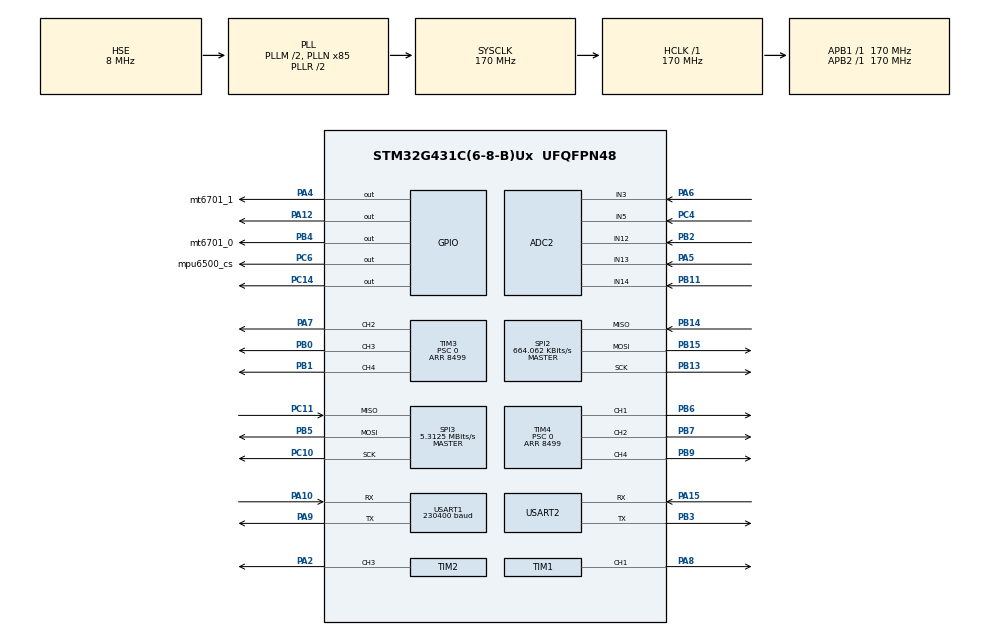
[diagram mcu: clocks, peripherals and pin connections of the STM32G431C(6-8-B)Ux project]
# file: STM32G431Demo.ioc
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ADC2.Channel-1\#ChannelRegularConversion=ADC_CHANNEL_13
ADC2.Channel-2\#ChannelRegularConversion=ADC_CHANNEL_3
ADC2.Channel-3\#ChannelRegularConversion=ADC_CHANNEL_5
ADC2.Channel-4\#ChannelRegularConversion=ADC_CHANNEL_12
ADC2.ContinuousConvMode=DISABLE
ADC2.DMAContinuousRequests=ENABLE
ADC2.EnableInjectedConversion=ENABLE
ADC2.ExternalTrigConv=ADC_EXTERNALTRIG_T3_TRGO
ADC2.InjNumberOfConversion=1
ADC2.InjectedChannel-5\#ChannelInjectedConversion=ADC_CHANNEL_14
ADC2.InjectedOffsetNumber-5\#ChannelInjectedConversion=ADC_OFFSET_NONE
ADC2.InjectedRank-5\#ChannelInjectedConversion=1
ADC2.InjectedSamplingTime-5\#ChannelInjectedConversion=ADC_SAMPLETIME_47CYCLES_5
ADC2.NbrOfConversion=4
ADC2.NbrOfConversionFlag=1
ADC2.OffsetNumber-1\#ChannelRegularConversion=ADC_OFFSET_NONE
ADC2.OffsetNumber-2\#ChannelRegularConversion=ADC_OFFSET_NONE
ADC2.OffsetNumber-3\#ChannelRegularConversion=ADC_OFFSET_NONE
ADC2.OffsetNumber-4\#ChannelRegularConversion=ADC_OFFSET_NONE
ADC2.Rank-1\#ChannelRegularConversion=1
ADC2.Rank-2\#ChannelRegularConversion=2
ADC2.Rank-3\#ChannelRegularConversion=3
ADC2.Rank-4\#ChannelRegularConversion=4
ADC2.Rank1_Channel=ADC_CHANNEL_14
ADC2.SamplingTime-1\#ChannelRegularConversion=ADC_SAMPLETIME_47CYCLES_5
ADC2.SamplingTime-2\#ChannelRegularConversion=ADC_SAMPLETIME_47CYCLES_5
ADC2.SamplingTime-3\#ChannelRegularConversion=ADC_SAMPLETIME_47CYCLES_5
ADC2.SamplingTime-4\#ChannelRegularConversion=ADC_SAMPLETIME_47CYCLES_5
Dma.ADC2.3.Direction=DMA_PERIPH_TO_MEMORY
Dma.ADC2.3.EventEnable=DISABLE
Dma.ADC2.3.Instance=DMA1_Channel4
Dma.ADC2.3.MemDataAlignment=DMA_MDATAALIGN_HALFWORD
Dma.ADC2.3.MemInc=DMA_MINC_ENABLE
Dma.ADC2.3.Mode=DMA_CIRCULAR
Dma.ADC2.3.PeriphDataAlignment=DMA_PDATAALIGN_HALFWORD
Dma.ADC2.3.PeriphInc=DMA_PINC_DISABLE
Dma.ADC2.3.Polarity=HAL_DMAMUX_REQ_GEN_RISING
Dma.ADC2.3.Priority=DMA_PRIORITY_HIGH
Dma.ADC2.3.RequestNumber=1
Dma.ADC2.3.SignalID=NONE
Dma.ADC2.3.SyncEnable=DISABLE
Dma.ADC2.3.SyncPolarity=HAL_DMAMUX_SYNC_NO_EVENT
Dma.ADC2.3.SyncRequestNumber=1
Dma.ADC2.3.SyncSignalID=NONE
Dma.Request0=TIM2_CH3
Dma.Request1=USART1_TX
Dma.Request2=USART1_RX
Dma.Request3=ADC2
Dma.Request4=SPI3_RX
Dma.Request5=SPI3_TX
Dma.Request6=USART2_TX
Dma.Request7=USART2_RX
Dma.SPI3_RX.4.Direction=DMA_PERIPH_TO_MEMORY
Dma.SPI3_RX.4.EventEnable=DISABLE
Dma.SPI3_RX.4.Instance=DMA1_Channel5
Dma.SPI3_RX.4.MemDataAlignment=DMA_MDATAALIGN_BYTE
Dma.SPI3_RX.4.MemInc=DMA_MINC_ENABLE
Dma.SPI3_RX.4.Mode=DMA_NORMAL
Dma.SPI3_RX.4.PeriphDataAlignment=DMA_PDATAALIGN_BYTE
Dma.SPI3_RX.4.PeriphInc=DMA_PINC_DISABLE
Dma.SPI3_RX.4.Polarity=HAL_DMAMUX_REQ_GEN_RISING
Dma.SPI3_RX.4.Priority=DMA_PRIORITY_LOW
Dma.SPI3_RX.4.RequestNumber=1
Dma.SPI3_RX.4.SignalID=NONE
Dma.SPI3_RX.4.SyncEnable=DISABLE
Dma.SPI3_RX.4.SyncPolarity=HAL_DMAMUX_SYNC_NO_EVENT
Dma.SPI3_RX.4.SyncRequestNumber=1
Dma.SPI3_RX.4.SyncSignalID=NONE
Dma.SPI3_TX.5.Direction=DMA_MEMORY_TO_PERIPH
Dma.SPI3_TX.5.EventEnable=DISABLE
Dma.SPI3_TX.5.Instance=DMA1_Channel6
Dma.SPI3_TX.5.MemDataAlignment=DMA_MDATAALIGN_BYTE
Dma.SPI3_TX.5.MemInc=DMA_MINC_ENABLE
Dma.SPI3_TX.5.Mode=DMA_NORMAL
Dma.SPI3_TX.5.PeriphDataAlignment=DMA_PDATAALIGN_BYTE
Dma.SPI3_TX.5.PeriphInc=DMA_PINC_DISABLE
Dma.SPI3_TX.5.Polarity=HAL_DMAMUX_REQ_GEN_RISING
Dma.SPI3_TX.5.Priority=DMA_PRIORITY_LOW
Dma.SPI3_TX.5.RequestNumber=1
Dma.SPI3_TX.5.SignalID=NONE
Dma.SPI3_TX.5.SyncEnable=DISABLE
Dma.SPI3_TX.5.SyncPolarity=HAL_DMAMUX_SYNC_NO_EVENT
Dma.SPI3_TX.5.SyncRequestNumber=1
Dma.SPI3_TX.5.SyncSignalID=NONE
Dma.TIM2_CH3.0.Direction=DMA_MEMORY_TO_PERIPH
Dma.TIM2_CH3.0.EventEnable=DISABLE
Dma.TIM2_CH3.0.Instance=DMA1_Channel1
Dma.TIM2_CH3.0.MemDataAlignment=DMA_MDATAALIGN_WORD
Dma.TIM2_CH3.0.MemInc=DMA_MINC_ENABLE
Dma.TIM2_CH3.0.Mode=DMA_NORMAL
Dma.TIM2_CH3.0.PeriphDataAlignment=DMA_PDATAALIGN_WORD
Dma.TIM2_CH3.0.PeriphInc=DMA_PINC_DISABLE
Dma.TIM2_CH3.0.Polarity=HAL_DMAMUX_REQ_GEN_RISING
Dma.TIM2_CH3.0.Priority=DMA_PRIORITY_HIGH
Dma.TIM2_CH3.0.RequestNumber=1
Dma.TIM2_CH3.0.SignalID=NONE
Dma.TIM2_CH3.0.SyncEnable=DISABLE
Dma.TIM2_CH3.0.SyncPolarity=HAL_DMAMUX_SYNC_NO_EVENT
Dma.TIM2_CH3.0.SyncRequestNumber=1
Dma.TIM2_CH3.0.SyncSignalID=NONE
Dma.USART1_RX.2.Direction=DMA_PERIPH_TO_MEMORY
Dma.USART1_RX.2.EventEnable=DISABLE
Dma.USART1_RX.2.Instance=DMA1_Channel3
Dma.USART1_RX.2.MemDataAlignment=DMA_MDATAALIGN_BYTE
Dma.USART1_RX.2.MemInc=DMA_MINC_ENABLE
Dma.USART1_RX.2.Mode=DMA_CIRCULAR
Dma.USART1_RX.2.PeriphDataAlignment=DMA_PDATAALIGN_BYTE
Dma.USART1_RX.2.PeriphInc=DMA_PINC_DISABLE
Dma.USART1_RX.2.Polarity=HAL_DMAMUX_REQ_GEN_RISING
Dma.USART1_RX.2.Priority=DMA_PRIORITY_LOW
Dma.USART1_RX.2.RequestNumber=1
Dma.USART1_RX.2.SignalID=NONE
Dma.USART1_RX.2.SyncEnable=DISABLE
Dma.USART1_RX.2.SyncPolarity=HAL_DMAMUX_SYNC_NO_EVENT
Dma.USART1_RX.2.SyncRequestNumber=1
Dma.USART1_RX.2.SyncSignalID=NONE
Dma.USART1_TX.1.Direction=DMA_MEMORY_TO_PERIPH
Dma.USART1_TX.1.EventEnable=DISABLE
Dma.USART1_TX.1.Instance=DMA1_Channel2
Dma.USART1_TX.1.MemDataAlignment=DMA_MDATAALIGN_BYTE
Dma.USART1_TX.1.MemInc=DMA_MINC_ENABLE
Dma.USART1_TX.1.Mode=DMA_NORMAL
Dma.USART1_TX.1.PeriphDataAlignment=DMA_PDATAALIGN_BYTE
Dma.USART1_TX.1.PeriphInc=DMA_PINC_DISABLE
Dma.USART1_TX.1.Polarity=HAL_DMAMUX_REQ_GEN_RISING
Dma.USART1_TX.1.Priority=DMA_PRIORITY_LOW
Dma.USART1_TX.1.RequestNumber=1
Dma.USART1_TX.1.SignalID=NONE
Dma.USART1_TX.1.SyncEnable=DISABLE
Dma.USART1_TX.1.SyncPolarity=HAL_DMAMUX_SYNC_NO_EVENT
Dma.USART1_TX.1.SyncRequestNumber=1
Dma.USART1_TX.1.SyncSignalID=NONE
Dma.USART2_RX.7.Direction=DMA_PERIPH_TO_MEMORY
Dma.USART2_RX.7.EventEnable=DISABLE
Dma.USART2_RX.7.Instance=DMA2_Channel2
Dma.USART2_RX.7.MemDataAlignment=DMA_MDATAALIGN_BYTE
Dma.USART2_RX.7.MemInc=DMA_MINC_ENABLE
Dma.USART2_RX.7.Mode=DMA_CIRCULAR
Dma.USART2_RX.7.PeriphDataAlignment=DMA_PDATAALIGN_BYTE
Dma.USART2_RX.7.PeriphInc=DMA_PINC_DISABLE
Dma.USART2_RX.7.Polarity=HAL_DMAMUX_REQ_GEN_RISING
Dma.USART2_RX.7.Priority=DMA_PRIORITY_LOW
Dma.USART2_RX.7.RequestNumber=1
Dma.USART2_RX.7.SignalID=NONE
Dma.USART2_RX.7.SyncEnable=DISABLE
Dma.USART2_RX.7.SyncPolarity=HAL_DMAMUX_SYNC_NO_EVENT
Dma.USART2_RX.7.SyncRequestNumber=1
Dma.USART2_RX.7.SyncSignalID=NONE
Dma.USART2_TX.6.Direction=DMA_MEMORY_TO_PERIPH
Dma.USART2_TX.6.EventEnable=DISABLE
Dma.USART2_TX.6.Instance=DMA2_Channel1
Dma.USART2_TX.6.MemDataAlignment=DMA_MDATAALIGN_BYTE
Dma.USART2_TX.6.MemInc=DMA_MINC_ENABLE
Dma.USART2_TX.6.Mode=DMA_NORMAL
Dma.USART2_TX.6.PeriphDataAlignment=DMA_PDATAALIGN_BYTE
Dma.USART2_TX.6.PeriphInc=DMA_PINC_DISABLE
Dma.USART2_TX.6.Polarity=HAL_DMAMUX_REQ_GEN_RISING
Dma.USART2_TX.6.Priority=DMA_PRIORITY_LOW
Dma.USART2_TX.6.RequestNumber=1
Dma.USART2_TX.6.SignalID=NONE
Dma.USART2_TX.6.SyncEnable=DISABLE
Dma.USART2_TX.6.SyncPolarity=HAL_DMAMUX_SYNC_NO_EVENT
Dma.USART2_TX.6.SyncRequestNumber=1
Dma.USART2_TX.6.SyncSignalID=NONE
FREERTOS.INCLUDE_vTaskDelayUntil=1
FREERTOS.Tasks01=DefaultTask,-3,192,StartDefaultTask,Default,NULL,Dynamic,NULL,NULL
FREERTOS.configENABLE_FPU=1
FREERTOS.configTOTAL_HEAP_SIZE=16384
IWDG.Prescaler=IWDG_PRESCALER_256
IWDG.Reload=1000
Mcu.Family=STM32G4
Mcu.Name=STM32G431C(6-8-B)Ux
Mcu.Package=UFQFPN48
NVIC.ADC1_2_IRQn=true\:5\:0\:false\:false\:true\:true\:true\:true\:true
NVIC.DMA1_Channel1_IRQn=true\:10\:0\:true\:false\:true\:true\:false\:true\:true
NVIC.DMA1_Channel2_IRQn=true\:10\:0\:true\:false\:true\:true\:false\:true\:true
NVIC.DMA1_Channel3_IRQn=true\:10\:0\:true\:false\:true\:true\:false\:true\:true
NVIC.DMA1_Channel4_IRQn=true\:5\:0\:false\:false\:true\:true\:false\:true\:true
NVIC.DMA1_Channel5_IRQn=true\:5\:0\:false\:false\:true\:true\:false\:true\:true
NVIC.DMA1_Channel6_IRQn=true\:5\:0\:false\:false\:true\:true\:false\:true\:true
NVIC.DMA2_Channel1_IRQn=true\:5\:0\:false\:false\:true\:true\:false\:true\:true
NVIC.DMA2_Channel2_IRQn=true\:5\:0\:false\:false\:true\:true\:false\:true\:true
NVIC.PriorityGroup=NVIC_PRIORITYGROUP_4
NVIC.SPI3_IRQn=true\:6\:0\:true\:false\:true\:true\:true\:true\:true
NVIC.TIM1_BRK_TIM15_IRQn=true\:5\:0\:false\:false\:true\:true\:true\:true\:true
NVIC.TIM1_TRG_COM_TIM17_IRQn=true\:6\:0\:true\:false\:true\:true\:true\:true\:true
NVIC.TIM2_IRQn=true\:5\:0\:false\:false\:true\:true\:true\:true\:true
NVIC.TIM3_IRQn=true\:5\:0\:true\:false\:true\:true\:true\:true\:true
NVIC.TIM4_IRQn=true\:5\:0\:false\:false\:true\:true\:true\:true\:true
NVIC.TIM6_DAC_IRQn=true\:6\:0\:true\:false\:true\:true\:true\:true\:true
NVIC.TIM7_IRQn=true\:15\:0\:false\:false\:true\:false\:false\:true\:true
NVIC.TimeBase=TIM7_IRQn
NVIC.TimeBaseIP=TIM7
NVIC.USART1_IRQn=true\:10\:0\:true\:false\:true\:true\:true\:true\:true
NVIC.USART2_IRQn=true\:10\:0\:true\:false\:true\:true\:true\:true\:true
PA10.Mode=Asynchronous
PA10.Signal=USART1_RX
PA12.GPIO_Speed=GPIO_SPEED_FREQ_VERY_HIGH
PA12.Signal=GPIO_Output
PA13.Mode=Serial_Wire
PA13.Signal=SYS_JTMS-SWDIO
PA14.Mode=Serial_Wire
PA14.Signal=SYS_JTCK-SWCLK
PA15.Mode=Asynchronous
PA15.Signal=USART2_RX
PA2.GPIO_Speed=GPIO_SPEED_FREQ_HIGH
PA2.Signal=S_TIM2_CH3
PA4.GPIO_Label=mt6701_1
PA4.GPIO_PuPd=GPIO_PULLUP
PA4.GPIO_Speed=GPIO_SPEED_FREQ_HIGH
PA4.PinState=GPIO_PIN_SET
PA4.Signal=GPIO_Output
PA5.Mode=IN13-Single-Ended
PA5.Signal=ADC2_IN13
PA6.Mode=IN3-Single-Ended
PA6.Signal=ADC2_IN3
PA7.Signal=S_TIM3_CH2
PA8.Signal=S_TIM1_CH1
PA9.Mode=Asynchronous
PA9.Signal=USART1_TX
PB0.Signal=S_TIM3_CH3
PB1.Signal=S_TIM3_CH4
PB11.Mode=IN14-Single-Ended
PB11.Signal=ADC2_IN14
PB13.GPIO_PuPd=GPIO_PULLUP
PB13.Mode=Full_Duplex_Master
PB13.Signal=SPI2_SCK
PB14.GPIO_PuPd=GPIO_PULLUP
PB14.Mode=Full_Duplex_Master
PB14.Signal=SPI2_MISO
PB15.GPIO_PuPd=GPIO_PULLUP
PB15.Mode=Full_Duplex_Master
PB15.Signal=SPI2_MOSI
PB2.Mode=IN12-Single-Ended
PB2.Signal=ADC2_IN12
PB3.Mode=Asynchronous
PB3.Signal=USART2_TX
PB4.GPIO_Label=mt6701_0
PB4.GPIO_PuPd=GPIO_PULLUP
PB4.GPIO_Speed=GPIO_SPEED_FREQ_HIGH
PB4.PinState=GPIO_PIN_SET
PB4.Signal=GPIO_Output
PB5.Mode=Full_Duplex_Master
PB5.Signal=SPI3_MOSI
PB6.Signal=S_TIM4_CH1
PB7.Signal=S_TIM4_CH2
PB9.Signal=S_TIM4_CH4
PC10.Mode=Full_Duplex_Master
PC10.Signal=SPI3_SCK
PC11.Mode=Full_Duplex_Master
PC11.Signal=SPI3_MISO
PC14-OSC32_IN.GPIO_PuPd=GPIO_PULLDOWN
PC14-OSC32_IN.Signal=GPIO_Output
PC4.Mode=IN5-Single-Ended
PC4.Signal=ADC2_IN5
PC6.GPIO_Label=mpu6500_cs
PC6.GPIO_PuPd=GPIO_NOPULL
PC6.GPIO_Speed=GPIO_SPEED_FREQ_HIGH
PC6.PinState=GPIO_PIN_SET
PC6.Signal=GPIO_Output
PF0-OSC_IN.Mode=HSE-External-Oscillator
PF0-OSC_IN.Signal=RCC_OSC_IN
PF1-OSC_OUT.Mode=HSE-External-Oscillator
PF1-OSC_OUT.Signal=RCC_OSC_OUT
ProjectManager.HeapSize=0x200
ProjectManager.StackSize=0x400
ProjectManager.TargetToolchain=CMake
RCC.ADC12Freq_Value=170000000
RCC.AHBFreq_Value=170000000
RCC.APB1Freq_Value=170000000
RCC.APB1TimFreq_Value=170000000
RCC.APB2Freq_Value=170000000
RCC.APB2TimFreq_Value=170000000
RCC.CortexFreq_Value=170000000
RCC.EXTERNAL_CLOCK_VALUE=12288000
RCC.HCLKFreq_Value=170000000
RCC.HSE_VALUE=8000000
RCC.HSI48_VALUE=48000000
RCC.HSI_VALUE=16000000
RCC.LSE_VALUE=32768
RCC.PLLM=RCC_PLLM_DIV2
RCC.PLLN=85
RCC.PLLSourceVirtual=RCC_PLLSOURCE_HSE
RCC.SYSCLKFreq_VALUE=170000000
RCC.SYSCLKSource=RCC_SYSCLKSOURCE_PLLCLK
RCC.USBFreq_Value=170000000
RCC.VCOOutputFreq_Value=340000000
SH.S_TIM1_CH1.0=TIM1_CH1,PWM Generation1 CH1
SH.S_TIM2_CH3.0=TIM2_CH3,PWM Generation3 CH3
SH.S_TIM3_CH2.0=TIM3_CH2,PWM Generation2 CH2
SH.S_TIM3_CH3.0=TIM3_CH3,PWM Generation3 CH3
SH.S_TIM3_CH4.0=TIM3_CH4,PWM Generation4 CH4
SH.S_TIM4_CH1.0=TIM4_CH1,PWM Generation1 CH1
SH.S_TIM4_CH2.0=TIM4_CH2,PWM Generation2 CH2
SH.S_TIM4_CH4.0=TIM4_CH4,PWM Generation4 CH4
SPI2.BaudRatePrescaler=SPI_BAUDRATEPRESCALER_256
SPI2.CLKPhase=SPI_PHASE_2EDGE
SPI2.CLKPolarity=SPI_POLARITY_HIGH
SPI2.CRCCalculation=SPI_CRCCALCULATION_DISABLE
SPI2.CalculateBaudRate=664.062 KBits/s
SPI2.DataSize=SPI_DATASIZE_8BIT
SPI2.Direction=SPI_DIRECTION_2LINES
SPI2.Mode=SPI_MODE_MASTER
SPI2.VirtualType=VM_MASTER
SPI3.BaudRatePrescaler=SPI_BAUDRATEPRESCALER_32
SPI3.CLKPhase=SPI_PHASE_2EDGE
SPI3.CLKPolarity=SPI_POLARITY_LOW
SPI3.CalculateBaudRate=5.3125 MBits/s
SPI3.DataSize=SPI_DATASIZE_8BIT
SPI3.Direction=SPI_DIRECTION_2LINES
SPI3.Mode=SPI_MODE_MASTER
SPI3.VirtualType=VM_MASTER
TIM1.Channel-PWM\ Generation1\ CH1=TIM_CHANNEL_1
TIM1.Prescaler=170-1
TIM17.PeriodNoDither=999
TIM17.Prescaler=170-1
TIM2.AutoReloadPreload=TIM_AUTORELOAD_PRELOAD_ENABLE
TIM2.Channel-PWM\ Generation3\ CH3=TIM_CHANNEL_3
TIM2.OCPolarity_3=TIM_OCPOLARITY_HIGH
TIM2.PeriodNoDither=212
TIM3.AutoReloadPreload=TIM_AUTORELOAD_PRELOAD_ENABLE
TIM3.Channel-PWM\ Generation2\ CH2=TIM_CHANNEL_2
TIM3.Channel-PWM\ Generation3\ CH3=TIM_CHANNEL_3
TIM3.Channel-PWM\ Generation4\ CH4=TIM_CHANNEL_4
TIM3.CounterMode=TIM_COUNTERMODE_CENTERALIGNED1
TIM3.PeriodNoDither=8499
TIM3.Prescaler=0
TIM3.TIM_MasterOutputTrigger=TIM_TRGO_UPDATE
TIM4.AutoReloadPreload=TIM_AUTORELOAD_PRELOAD_ENABLE
TIM4.Channel-PWM\ Generation1\ CH1=TIM_CHANNEL_1
TIM4.Channel-PWM\ Generation2\ CH2=TIM_CHANNEL_2
TIM4.Channel-PWM\ Generation4\ CH4=TIM_CHANNEL_4
TIM4.CounterMode=TIM_COUNTERMODE_CENTERALIGNED1
TIM4.PeriodNoDither=8499
TIM4.Prescaler=0
TIM6.PeriodNoDither=14
TIM6.Prescaler=169
USART1.BaudRate=230400
USART1.VirtualMode-Asynchronous=VM_ASYNC
USART2.VirtualMode-Asynchronous=VM_ASYNC
VP_FREERTOS_VS_CMSIS_V1.Mode=CMSIS_V1
VP_IWDG_VS_IWDG.Mode=IWDG_Activate
VP_SYS_VS_DBSignals.Mode=DisableDeadBatterySignals
VP_SYS_VS_tim7.Mode=TIM7
VP_TIM17_VS_ClockSourceINT.Mode=Enable_Timer
VP_TIM1_VS_ClockSourceINT.Mode=Internal
VP_TIM2_VS_ClockSourceINT.Mode=Internal
VP_TIM4_VS_ClockSourceITR.Mode=TriggerSource_ITR2
VP_TIM4_VS_ControllerModeTrigger.Mode=Trigger Mode
VP_TIM6_VS_ClockSourceINT.Mode=Enable_Timer
board=custom

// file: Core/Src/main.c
/* USER CODE BEGIN Header */
/**
  ******************************************************************************
  * @file           : main.c
  * @brief          : Main program body
  ******************************************************************************
  * @attention
  *
  * Copyright (c) 2026 STMicroelectronics.
  * All rights reserved.
  *
  * This software is licensed under terms that can be found in the LICENSE file
  * in the root directory of this software component.
  * If no LICENSE file comes with this software, it is provided AS-IS.
  *
  ******************************************************************************
  */
/* USER CODE END Header */
#include "main.h"
#include "cmsis_os.h"
#include "adc.h"
#include "dma.h"
#include "iwdg.h"
#include "spi.h"
#include "tim.h"
#include "usart.h"
#include "gpio.h"

/* USER CODE BEGIN Includes */
#include "../Inc/buzzer.h"
#include "ws2812b.h"
#include "mt6701.h"
#include "ina240.h"
#include "mpu6500.h"
#include "vbus.h"
#include "foc.h"
#include "motor_hal.h"
#include "calibration.h"
#include "comm.h"
#include "bt_comm.h"
#include "build_time.h"  /* BUILD_TIMESTAMP — 每次构建自动生成 */
#include <stdio.h>
#include "task.h"
/* USER CODE END Includes */

/* USER CODE BEGIN PV */
extern osThreadId TaskBalanceLoopHandle;
static uint8_t g_printf_port = 0;  /**< 0=USART1, 1=USART2, 由 CLI 端口切换控制 */

void CLI_SetOutputPort(uint8_t port) { g_printf_port = port; }
uint8_t CLI_GetOutputPort(void) { return g_printf_port; }
/* USER CODE END PV */

void SystemClock_Config(void);
void MX_FREERTOS_Init(void);

int main(void)
{

  /* MCU Configuration--------------------------------------------------------*/

  /* Reset of all peripherals, Initializes the Flash interface and the Systick. */
  HAL_Init();

  /* Configure the system clock */
  SystemClock_Config();

  /* Initialize all configured peripherals */
  MX_GPIO_Init();
  MX_DMA_Init();
  MX_TIM1_Init();
  MX_TIM2_Init();
  MX_USART1_UART_Init();
  MX_SPI3_Init();
  MX_ADC2_Init();
  MX_SPI2_Init();
  MX_TIM3_Init();
  MX_TIM4_Init();
  MX_TIM6_Init();
  MX_TIM17_Init();
  MX_USART2_UART_Init();
  MX_IWDG_Init();
  /* USER CODE BEGIN 2 */
  // 禁用 stdout 缓冲，确保 printf 立即输出
  setvbuf(stdout, NULL, _IONBF, 0);
  WS2812B_Init();
  Buzzer_Init();
  COMM_Init();
  BT_COMM_Init();
  MT6701_Init();
  INA240_Init();

  // 初始化完成提示音 — 两声短响
  Buzzer_Beep(2000, 80);
  HAL_Delay(120);
  Buzzer_Beep(2000, 80);
  HAL_Delay(150);

  // 先启动 TIM3 提供 ADC TRGO 触发，但 PC14 保持低电平（MP6536 禁能，零电流）
  HAL_TIM_Base_Start(&htim3);
  HAL_Delay(10);
  INA240_Calibrate();

  // 从 Flash 加载校准参数到 g_calib（仅用于打印，实际应用在 FOC_Init 之后）
  CALIB_FlashLoad(&g_calib);
  if (!CALIB_FlashIsValid(&g_calib)) {
      g_calib.magic   = CALIB_MAGIC;
      g_calib.version = CALIB_VERSION;
  }

  printf("\r\n=== STM32G4-Balance v3.2 (构建: " BUILD_TIMESTAMP ") ===\r\n");
  printf("IWDG: LSI/256=125Hz, RL=1000 (8s timeout)\r\n");

  FOC_Init();
  // 先中性化 PWM 再使能 MP6536，避免门驱输入浮空导致电机抖动
  for (int i = 0; i < 2; i++) {
      Motor_StartPWM(&g_motor[i]);
      Motor_SetDuty(&g_motor[i], 0.50f, 0.50f, 0.50f);
  }
  Motor_Enable();

  // 电流环初始化
  for (int i = 0; i < 2; i++) {
      g_motor[i].id_ref = 0.0f;
      g_motor[i].iq_ref = 0.0f;
      g_motor[i].mode = MOTOR_MODE_CURRENT_LOOP;
      PI_Reset(&g_motor[i].id_pi);
      PI_Reset(&g_motor[i].iq_pi);
  }

  // FOC_Init 之后应用 Flash 校准参数
  if (CALIB_FlashIsValid(&g_calib)) {
      CALIB_ApplyToMotor(&g_calib, 0);
      CALIB_ApplyToMotor(&g_calib, 1);
      MT6701_SetEncDirection(0, g_calib.enc_direction[0]);
      MT6701_SetEncDirection(1, g_calib.enc_direction[1]);
      INA240_SetAllZeroOffsets(g_calib.zero_offset);
  }
  printf("g_motor active: phase_comp M1=%.3f M2=%.3f rad\r\n", g_motor[0].phase_comp, g_motor[1].phase_comp);

  VBUS_Init();
  printf("VBUS=%.2fV (%s)\r\n", VBUS_Read(),
         VBUS_IsCalibrated() ? "calibrated" : "uncalibrated, use VCAL");

  if (MPU6500_Init() != 0) {
    printf("[FATAL] MPU6500 init FAILED — system halted\r\n");
    /* 等待 UART DMA 发送完成，确保错误消息完整输出 */
    HAL_Delay(5);
    while (!__HAL_UART_GET_FLAG(&huart1, UART_FLAG_TC));
    /* 错误提示音: 3声短促 4000Hz (每声100ms, 间隔100ms) */
    for (int i = 0; i < 3; i++) {
      Buzzer_Beep(4000, 100);
      HAL_Delay(100);
    }
    /* 死循环 — 不初始化 MT6701, 不启动 FreeRTOS, 系统完全停止 */
    while (1);
  }
  MT6701_CSDelay_Init();
  MT6701_StartDMA(0);
  /* USER CODE END 2 */

  /* Call init function for freertos objects (in cmsis_os2.c) */
  MX_FREERTOS_Init();

  /* Start scheduler */
  osKernelStart();

  /* We should never get here as control is now taken by the scheduler */

  /* Infinite loop */
  while (1)
  {

    /* USER CODE BEGIN 3 */
    // FreeRTOS 已接管调度，此处不应被执行
  }
  /* USER CODE END 3 */
}

void SystemClock_Config(void)
{
  RCC_OscInitTypeDef RCC_OscInitStruct = {0};
  RCC_ClkInitTypeDef RCC_ClkInitStruct = {0};

  /** Configure the main internal regulator output voltage
  */
  HAL_PWREx_ControlVoltageScaling(PWR_REGULATOR_VOLTAGE_SCALE1_BOOST);

  /** Initializes the RCC Oscillators according to the specified parameters
  * in the RCC_OscInitTypeDef structure.
  */
  RCC_OscInitStruct.OscillatorType = RCC_OSCILLATORTYPE_LSI|RCC_OSCILLATORTYPE_HSE;
  RCC_OscInitStruct.HSEState = RCC_HSE_ON;
  RCC_OscInitStruct.LSIState = RCC_LSI_ON;
  RCC_OscInitStruct.PLL.PLLState = RCC_PLL_ON;
  RCC_OscInitStruct.PLL.PLLSource = RCC_PLLSOURCE_HSE;
  RCC_OscInitStruct.PLL.PLLM = RCC_PLLM_DIV2;
  RCC_OscInitStruct.PLL.PLLN = 85;
  RCC_OscInitStruct.PLL.PLLP = RCC_PLLP_DIV2;
  RCC_OscInitStruct.PLL.PLLQ = RCC_PLLQ_DIV2;
  RCC_OscInitStruct.PLL.PLLR = RCC_PLLR_DIV2;
  if (HAL_RCC_OscConfig(&RCC_OscInitStruct) != HAL_OK)
  {
    Error_Handler();
  }

  /** Initializes the CPU, AHB and APB buses clocks
  */
  RCC_ClkInitStruct.ClockType = RCC_CLOCKTYPE_HCLK|RCC_CLOCKTYPE_SYSCLK
                              |RCC_CLOCKTYPE_PCLK1|RCC_CLOCKTYPE_PCLK2;
  RCC_ClkInitStruct.SYSCLKSource = RCC_SYSCLKSOURCE_PLLCLK;
  RCC_ClkInitStruct.AHBCLKDivider = RCC_SYSCLK_DIV1;
  RCC_ClkInitStruct.APB1CLKDivider = RCC_HCLK_DIV1;
  RCC_ClkInitStruct.APB2CLKDivider = RCC_HCLK_DIV1;

  if (HAL_RCC_ClockConfig(&RCC_ClkInitStruct, FLASH_LATENCY_4) != HAL_OK)
  {
    Error_Handler();
  }
}

/* USER CODE BEGIN 4 */

// printf 重定向 — CLI 可切换输出端口 (USART1↔USART2)
int __io_putchar(int ch)
{
    if (g_printf_port == 1) {
        BT_COMM_SendByte((uint8_t)ch);
    } else {
        COMM_SendByte((uint8_t)ch);
    }
    return ch;
}

/* USER CODE END 4 */

void HAL_TIM_PeriodElapsedCallback(TIM_HandleTypeDef *htim)
{
  if (htim->Instance == TIM7)
  {
    HAL_IncTick();
  }
  /* USER CODE BEGIN Callback 1 */
  if (htim->Instance == TIM6)
  {
      MT6701_OnCSDelayComplete();
  }
  if (htim->Instance == TIM17)
  {
      BaseType_t xHigherPriorityTaskWoken = pdFALSE;
      vTaskNotifyGiveFromISR(TaskBalanceLoopHandle, &xHigherPriorityTaskWoken);
      portYIELD_FROM_ISR(xHigherPriorityTaskWoken);
  }
  /* USER CODE END Callback 1 */
}

void Error_Handler(void)
{
  /* USER CODE BEGIN Error_Handler_Debug */
  /* User can add his own implementation to report the HAL error return state */
  Fault_DisableMotors();  // CR-023: 安全停止电机
  __disable_irq();
  while (1)
  {
  }
  /* USER CODE END Error_Handler_Debug */
}

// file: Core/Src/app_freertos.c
/* USER CODE BEGIN Header */
/**
  ******************************************************************************
  * File Name          : app_freertos.c
  * Description        : Code for freertos applications
  ******************************************************************************
  */
/* USER CODE END Header */

#include "FreeRTOS.h"
#include "task.h"
#include "main.h"
#include "cmsis_os.h"

/* USER CODE BEGIN Includes */
#include <stdio.h>
#include <stdlib.h>
#include <math.h>
#include "mt6701.h"
#include "ina240.h"
#include "mpu6500.h"
#include "kf_angle.h"

#include "comm_protocol.h"
#include "comm.h"
#include "foc.h"

#include "motor_hal.h"
#include "svpwm.h"
#include "current_ctrl.h"
#include "encoder_cache.h"
#include "calibration.h"
#include "speed_ctrl.h"
#include "buzzer.h"
#include "cli_parser.h"
#include "cli.h"
#include "balance_ctrl.h"
#include "vbus.h"
#include "bt_comm.h"
/* USER CODE END Includes */

/* USER CODE BEGIN PD */
// 维护周期宏 (CR-018 魔法数消除)
#define MAINTENANCE_DIV         100      // IWDG 喂狗 / VBUS 检查周期 (tick, 100=100ms)
#define VBUS_BEEP_INTERVAL      800      // VBUS 低压蜂鸣间隔 (tick, 800=800ms)
#define BT_TELEM_DIV            20       // BT 遥测周期 (tick, 20=50Hz)
#define CYCLE_OVERRUN_THRESH    170000   // DWT 超时阈值 (cycles @170MHz≈1ms)

// VBUS 电压阈值 (V)
#define VBUS_UVLO_THRESHOLD     6.4f     // 低压停止阈值
#define VBUS_WARN_THRESHOLD     6.6f     // 低压告警阈值

// 控制参数宏
#define ODOM_EMA_ALPHA          0.095f   // odom EMA α (τ≈10ms @1kHz)
#define IMU_RECOVER_TILT_MAX    10.0f    // IMU 恢复后允许自动重激活的倾角阈值 (°)
/* USER CODE END PD */

/* USER CODE BEGIN Variables */
SpeedCtrl_t g_speed[2];
BalanceCtrl_t g_balance;
osThreadId TaskCLIHandle;
osThreadId TaskBalanceLoopHandle;
extern TIM_HandleTypeDef htim17;
extern IWDG_HandleTypeDef hiwdg;  /**< 独立看门狗句柄，main.c 定义 */

// 运行时故障/状态计数器 (CLI help 可查看)
uint32_t g_imu_fault_total   = 0;  /**< IMU SPI 累计故障次数 */
uint32_t g_nan_fault_cnt     = 0;  /**< NaN 累计检测次数 */
uint32_t g_cycle_overrun_cnt = 0;  /**< 平衡循环超时 (>1ms) 累计次数 */
/* USER CODE END Variables */
osThreadId DefaultTaskHandle;

/* USER CODE BEGIN FunctionPrototypes */
void StartCLITask(void const * argument);
void StartBalanceLoopTask(void const * argument);
/* USER CODE END FunctionPrototypes */

void StartDefaultTask(void const * argument);

void MX_FREERTOS_Init(void); /* (MISRA C 2004 rule 8.1) */

void MX_FREERTOS_Init(void) {

  /* Create the thread(s) */
  /* definition and creation of DefaultTask */
  osThreadDef(DefaultTask, StartDefaultTask, osPriorityIdle, 0, 192);
  DefaultTaskHandle = osThreadCreate(osThread(DefaultTask), NULL);

  /* USER CODE BEGIN RTOS_THREADS */
  if (g_calib_mode) {
      osThreadDef(TaskCLI, StartCLITask, osPriorityNormal, 0, 1024);
      TaskCLIHandle = osThreadCreate(osThread(TaskCLI), NULL);
  } else {
      osThreadDef(TaskCLI, StartCLITask, osPriorityNormal, 0, 512);
      TaskCLIHandle = osThreadCreate(osThread(TaskCLI), NULL);
      osThreadDef(TaskBalance, StartBalanceLoopTask, osPriorityHigh, 0, 896);
      TaskBalanceLoopHandle = osThreadCreate(osThread(TaskBalance), NULL);
  }
  /* USER CODE END RTOS_THREADS */

}

void StartDefaultTask(void const * argument)
{
  /* USER CODE BEGIN StartDefaultTask */
  (void)argument;
  vTaskDelete(NULL);  // 占位任务, 立即自删, 满足 CubeMX 至少一个任务的约束
  /* USER CODE END StartDefaultTask */
}

/* USER CODE BEGIN Application */

/** @brief CLI 任务 — 串口命令处理 */
void StartCLITask(void const * argument)
{
  (void)argument;
  CLI_Init();
  uint32_t cli_tick = 0;
  for(;;)
  {
    CLI_Process();
    osDelay(1);
    // CR-019: 校准模式下仅 CLI 任务运行, 需主动喂狗 (100ms 间隔)
    cli_tick++;
    if (cli_tick % 100 == 0) {
        HAL_IWDG_Refresh(&hiwdg);
    }
  }
}

/** @brief 平衡环任务 — 1kHz TIM17 触发, IMU→卡尔曼滤波→平衡PID→速度环→差速 */
void StartBalanceLoopTask(void const * argument)
{
  (void)argument;
  BalanceCtrl_Init(&g_balance);

  SpeedCtrl_Init(&g_speed[MOTOR_LEFT], SPEED_PI_DEFAULT_KP, SPEED_PI_DEFAULT_KI,
                 2.0f, -2.0f, MT6701_GetEncDirection(MOTOR_LEFT),
                 MOTOR_KT, MOTOR_J);
  SpeedCtrl_Init(&g_speed[MOTOR_RIGHT], SPEED_PI_DEFAULT_KP, SPEED_PI_DEFAULT_KI,
                 2.0f, -2.0f, MT6701_GetEncDirection(MOTOR_RIGHT),
                 MOTOR_KT, MOTOR_J);

  MPU6500_SetAccelRange(MPU6500_ACCEL_RANGE_4G);

  const float dt = 0.001f;  // 1ms

  // 等待 IMU 上电稳定
  for (int i = 0; i < 20; i++) osDelay(10);

  // 初始化卡尔曼滤波器 (机械平衡点 0°, 无需校准)
  KalmanAngle_t kf;
  g_balance.target_angle = 0.0f;

  {
      // 多次采样加速度计, 获取稳态初始倾角 (避免单次瞬时噪声)
      float accel_sum = 0.0f;
      for (int i = 0; i < 10; i++) {
          MPU6500_Accel_t accel;
          MPU6500_Gyro_t gyro;
          MPU6500_ReadAll(&accel, &gyro);
          accel_sum += atan2f(accel.y, accel.z) * RAD_TO_DEG;
          osDelay(10);
      }
      float init_tilt = accel_sum / 10.0f;

      KalmanAngle_Init(&kf, init_tilt, 1e-6f, 0.003f, 0.03f);

      if (fabsf(init_tilt) <= 10.0f) {
          g_balance.active = 1;
          g_balance.gyro_filt = 0.0f;
          for (int i = 0; i < 2; i++) {
              g_motor[i].mode = MOTOR_MODE_CURRENT_LOOP;
              PI_Reset(&g_motor[i].id_pi);
              PI_Reset(&g_motor[i].iq_pi);
              SpeedCtrl_EnterMode(&g_speed[i], 0.0f);
              g_motor[i].speed_mode = 1;
          }
          Buzzer_Sweep(800, 2000, 400);
          printf("[INIT] Tilt=%.1f, auto-balance ON\r\n", init_tilt);
      } else {
          Buzzer_Sweep(2000, 800, 400);
          printf("[INIT] Tilt=%.1f > 10, send B to start\r\n", init_tilt);
      }
  }

  HAL_TIM_Base_Start_IT(&htim17);

  // 启用 DWT 周期计数器 (用于控制循环超时检测)
  CoreDebug->DEMCR |= CoreDebug_DEMCR_TRCENA_Msk;
  DWT->CYCCNT = 0;
  DWT->CTRL |= DWT_CTRL_CYCCNTENA_Msk;

  static uint32_t tick = 0;
  static uint8_t imu_fault_cnt = 0;
  static uint8_t imu_faulted = 0;
  for (;;) {
      ulTaskNotifyTake(pdTRUE, portMAX_DELAY);
      uint32_t t_start = DWT->CYCCNT;  // 记录本周期起始时刻, DWT 自由运行不重置
      tick++;

      // 0. 关键维护 (必须在所有控制逻辑之前, 即使 IMU 故障也要执行)
      if (tick % MAINTENANCE_DIV == 0) {
          HAL_IWDG_Refresh(&hiwdg);  // 独立看门狗喂狗 (8s 超时, 100ms 喂一次)
          float vbus = VBUS_Read();
          g_foc_vbus = vbus;  // 更新 SVPWM 母线电压缓存
          if (vbus <= VBUS_UVLO_THRESHOLD) {
              if (g_balance.active) {
                  g_balance.active = 0;
                  for (int i = 0; i < 2; i++) {
                      g_motor[i].speed_mode = 0;
                      Motor_SetIqRef(&g_motor[i], 0.0f);
                      Motor_Neutralize(&g_motor[i]);
                  }
                  printf("[FAULT] VBUS=%.2fV low, motors stopped\r\n", vbus);
              }
              if (tick % MAINTENANCE_DIV == 0) Buzzer_Beep(4000, 80);
          } else if (vbus <= VBUS_WARN_THRESHOLD) {
              if (tick % VBUS_BEEP_INTERVAL == 0) Buzzer_Beep(3000, 80);
          }
      }

      // 1. IMU 读取 + 卡尔曼滤波倾角估计 (前后倾斜 = 绕X轴)
      MPU6500_Accel_t accel;
      MPU6500_Gyro_t gyro;
      if (MPU6500_ReadAll(&accel, &gyro) != 0) {
          imu_fault_cnt++;
          if (imu_fault_cnt >= 5 && !imu_faulted) {
              imu_faulted = 1;
              g_imu_fault_total++;
              g_balance.active = 0;
              for (int i = 0; i < 2; i++) {
                  g_motor[i].speed_mode = 0;
                  Motor_SetIqRef(&g_motor[i], 0.0f);
                  Motor_Neutralize(&g_motor[i]);
              }
              printf("[FAULT] IMU SPI timeout x5, motors stopped\r\n");
              Buzzer_Beep(4000, 200);
          }
          continue;  // 维护已在上面完成, 安全地跳过本周期
      }
      if (imu_faulted) {
          imu_faulted = 0;
          printf("[FAULT] IMU recovered\r\n");
          // 自动恢复平衡控制 (需检查当前倾角是否适合激活)
          if (!g_balance.active) {
              float accel_angle = atan2f(accel.y, accel.z) * RAD_TO_DEG;
              if (fabsf(accel_angle) <= IMU_RECOVER_TILT_MAX) {
                  g_balance.active = 1;
                  g_balance.gyro_filt = 0.0f;
                  for (int i = 0; i < 2; i++) {
                      g_motor[i].mode = MOTOR_MODE_CURRENT_LOOP;
                      PI_Reset(&g_motor[i].id_pi);
                      PI_Reset(&g_motor[i].iq_pi);
                      SpeedCtrl_EnterMode(&g_speed[i], 0.0f);
                      g_motor[i].speed_mode = 1;
                  }
                  Buzzer_Sweep(800, 2000, 200);
                  printf("[FAULT] Auto-balance restored (tilt=%.1f)\r\n", accel_angle);
              } else {
                  printf("[FAULT] Tilt=%.1f > %.0f, send B to restart\r\n",
                         accel_angle, IMU_RECOVER_TILT_MAX);
              }
          }
      }
      imu_fault_cnt = 0;

      // 卡尔曼预测: 陀螺仪积分 (卡尔曼内部维护零偏估计)
      KalmanAngle_Predict(&kf, gyro.x, dt);

      // 卡尔曼更新: 加速度计观测 (不做EMA预滤波, 卡尔曼本身就是最优滤波器)
      float accel_angle = atan2f(accel.y, accel.z) * RAD_TO_DEG;
      KalmanAngle_Update(&kf, accel_angle);

      g_balance.tilt_angle = KalmanAngle_GetAngle(&kf);
      g_balance.gyro_rate  = gyro.x - KalmanAngle_GetBias(&kf);

      // 2. 速度外环 (100Hz): 差分测速 + PI → target_angle
      {
          static float last_pos[2] = {0.0f, 0.0f};
          static float speed_i = 0.0f;
          static uint8_t pos_valid = 0;

          // STOP 或保护后清零积分和位置历史
          if (!g_balance.active) {
              speed_i = 0.0f;
              pos_valid = 0;
              g_balance.target_angle = 0.0f;
          } else if (tick % SPEED_OUTER_DIV == 0) {
              COMPILER_BARRIER();  // CLI 可能已修改 g_speed_outer_kp/ki
              float avg_speed = 0.0f;
              if (pos_valid) {
                  for (int i = 0; i < 2; i++) {
                      float delta = g_foc_snap[i].mech_angle - last_pos[i];
                      if (delta > M_PI) delta -= 2.0f * M_PI;
                      if (delta < -M_PI) delta += 2.0f * M_PI;
                      avg_speed += delta / SPEED_OUTER_DT * RPM_FROM_RADPS * g_speed[i].enc_dir;
                  }
                  avg_speed *= 0.5f;

                  float err = avg_speed - g_balance.target_speed;
                  speed_i += g_speed_outer_ki * err * SPEED_OUTER_DT;
                  // I 限幅 < 输出限幅, 给 P 项留空间
                  if (speed_i >  SPEED_OUTER_I_MAX) speed_i =  SPEED_OUTER_I_MAX;
                  if (speed_i < -SPEED_OUTER_I_MAX) speed_i = -SPEED_OUTER_I_MAX;

                  g_balance.target_angle = g_speed_outer_kp * err + speed_i;
                  if (g_balance.target_angle >  SPEED_OUTER_MAX)
                      g_balance.target_angle =  SPEED_OUTER_MAX;
                  if (g_balance.target_angle < -SPEED_OUTER_MAX)
                      g_balance.target_angle = -SPEED_OUTER_MAX;
              }
              for (int i = 0; i < 2; i++) {
                  last_pos[i] = g_foc_snap[i].mech_angle;
              }
              pos_valid = 1;
          }
      }

      // 3a. 偏航角度积分 (1kHz): 编码器差速→连续角度
      {
          if (!g_balance.active) {
              g_balance.yaw_angle = 0.0f;
              g_balance.target_yaw_angle = 0.0f;
              g_balance.yaw_mode = 0;
          } else {
              // odom_rate EMA 滤波 (τ≈10ms, 截止~16Hz) 抑制编码器量化噪声
              static float odom_filt = 0.0f;
              float odom_raw = (g_speed[MOTOR_RIGHT].speed_fb - g_speed[MOTOR_LEFT].speed_fb) * YAW_RPM_TO_DPS;
              odom_filt += (odom_raw - odom_filt) * ODOM_EMA_ALPHA;
              g_balance.yaw_angle += odom_filt * dt;  // dt=0.001f
              // ±360° 角度防卷绕
              while (g_balance.yaw_angle > 360.0f) g_balance.yaw_angle -= 720.0f;
              while (g_balance.yaw_angle < -360.0f) g_balance.yaw_angle += 720.0f;
          }
      }

      // 3b. 偏航控制 (50Hz): 互补滤波 + 角度外环(25Hz) + 速率PI → steer
      {
          static float gyro_bias_z = 0.0f;
          static float yaw_i = 0.0f;
          static float yaw_angle_i = 0.0f;  // 角度外环积分
          static float target_yaw_rate = 0.0f;  // 平滑后速率目标, 喂给内环PI (50Hz)
          static float raw_yaw_rate_aim = 0.0f;  // 角度PI原始输出, EMA目标值 (50Hz种子)

          if (!g_balance.active) {
              gyro_bias_z = 0.0f;
              yaw_i = 0.0f;
              yaw_angle_i = 0.0f;
              target_yaw_rate = 0.0f;
              raw_yaw_rate_aim = 0.0f;
              g_balance.steer = 0.0f;
          } else if (tick % YAW_OUTER_DIV == 0) {
              // 互补滤波: 陀螺偏置缓慢收敛到 (gyro.z - odom_rate)
              float odom_rate = (g_speed[MOTOR_RIGHT].speed_fb - g_speed[MOTOR_LEFT].speed_fb) * YAW_RPM_TO_DPS;
              gyro_bias_z += YAW_COMP_ALPHA * (gyro.z - odom_rate - gyro_bias_z);

              // 偏航速率目标: BT 速率模式直连, 或角度外环 PI + EMA 平滑
              if (g_balance.yaw_mode == 1) {
                  COMPILER_BARRIER();
                  target_yaw_rate = g_balance.bt_yaw_rate_cmd;
                  raw_yaw_rate_aim = target_yaw_rate;  // 种子: 切回hold时平滑起点
                  yaw_angle_i = 0.0f;
              } else {
                  if (tick % YAW_ANGLE_OUTER_DIV == 0) {
                      COMPILER_BARRIER();  // g_yaw_angle_kp/ki 由 CLI 写入
                      float angle_err = g_balance.target_yaw_angle - g_balance.yaw_angle;
                      if (isnan(angle_err)) { angle_err = 0.0f; g_nan_fault_cnt++; }
                      yaw_angle_i += g_yaw_angle_ki * angle_err * YAW_ANGLE_OUTER_DT;
                      if (yaw_angle_i >  YAW_ANGLE_MAX_I) yaw_angle_i =  YAW_ANGLE_MAX_I;
                      if (yaw_angle_i < -YAW_ANGLE_MAX_I) yaw_angle_i = -YAW_ANGLE_MAX_I;
                      raw_yaw_rate_aim = g_yaw_angle_kp * angle_err + yaw_angle_i;
                      if (raw_yaw_rate_aim >  YAW_ANGLE_MAX_RATE) raw_yaw_rate_aim =  YAW_ANGLE_MAX_RATE;
                      if (raw_yaw_rate_aim < -YAW_ANGLE_MAX_RATE) raw_yaw_rate_aim = -YAW_ANGLE_MAX_RATE;
                  }
                  // EMA 平滑 (50Hz, τ≈50ms): 松杆时速率→角度模式无突变
                  target_yaw_rate += (raw_yaw_rate_aim - target_yaw_rate) * 0.181f;
              }

              // 偏航速率 PI (50Hz): yaw_rate error → steer (负反馈, CR-010 已验证)
              // 物理方向: gyro.z > 0 = CW旋转(俯视), 正 steer → 左轮加速右轮减速 → CCW 力矩
              // err = yaw_rate - target_yaw_rate: 实测 CW > 目标 → 正 steer → CCW 对抗 → 负反馈 ✓
              {
                  COMPILER_BARRIER();  // g_yaw_kp/ki 由 CLI 写入
                  float yaw_rate = gyro.z - gyro_bias_z;
                  float err = yaw_rate - target_yaw_rate;
                  yaw_i += g_yaw_ki * err * YAW_OUTER_DT;
                  if (yaw_i >  YAW_PI_MAX) yaw_i =  YAW_PI_MAX;
                  if (yaw_i < -YAW_PI_MAX) yaw_i = -YAW_PI_MAX;

                  g_balance.steer = g_yaw_kp * err + yaw_i;
                  if (g_balance.steer >  YAW_PI_MAX) g_balance.steer =  YAW_PI_MAX;
                  if (g_balance.steer < -YAW_PI_MAX) g_balance.steer = -YAW_PI_MAX;
              }
          }
      }

      // 4. 平衡 PID + 差速混合 (target_angle 含速度外环, steer 含偏航PI)
      BalanceCtrl_Run(&g_balance);

      // 5. 直接力矩 + 差速转向
      int order[2];
      if (tick & 1) { order[0] = 1; order[1] = 0; }
      else          { order[0] = 0; order[1] = 1; }

      for (int j = 0; j < 2; j++) {
          int i = order[j];
          // EKF 速度估计 (保留用于遥测 ch3/ch4)
          SpeedCtrl_UpdateRPM(&g_speed[i], g_foc_snap[i].mech_angle,
                               g_foc_snap[i].iq);

          if (g_balance.active) {
              // 差速转矩转向: 左轮 +steer, 右轮 -steer
              float iq_base = BALANCE_DIRECT_GAIN * g_balance.balance_out;
              float iq_diff = BALANCE_DIRECT_GAIN * g_balance.steer;
              float iq_cmd = (i == MOTOR_LEFT) ? iq_base + iq_diff
                                              : iq_base - iq_diff;
              if (isnan(iq_cmd)) { iq_cmd = 0.0f; g_nan_fault_cnt++; }
              if (isinf(iq_cmd)) { iq_cmd = (iq_cmd > 0.0f) ? IQ_CMD_MAX : -IQ_CMD_MAX; g_nan_fault_cnt++; }
              if (iq_cmd >  IQ_CMD_MAX) iq_cmd =  IQ_CMD_MAX;
              if (iq_cmd < -IQ_CMD_MAX) iq_cmd = -IQ_CMD_MAX;
              Motor_SetIqRef(&g_motor[i], iq_cmd);
          } else if (g_motor[i].speed_mode) {
              g_motor[i].speed_mode = 0;
              Motor_SetIqRef(&g_motor[i], 0.0f);
              Motor_Neutralize(&g_motor[i]);
              if (i == 1) {
                  Buzzer_Beep(3000, 100);
                  printf("[PROTECT] Balance deactivated, motors stopped\r\n");
              }
          }
      }

      // 5.5 拿起检测: 轮子空转但车体几乎不转 (>300ms 防误触)
      {
          static uint32_t pickup_tick = 0;
          if (g_balance.active) {
              float max_rpm = fabsf(g_speed[MOTOR_RIGHT].speed_fb);
              if (fabsf(g_speed[MOTOR_LEFT].speed_fb) > max_rpm)
                  max_rpm = fabsf(g_speed[MOTOR_LEFT].speed_fb);
              if (fabsf(g_balance.gyro_filt) < 30.0f && max_rpm > 500.0f) {
                  if (pickup_tick == 0) pickup_tick = tick;
                  if ((tick - pickup_tick) > 300) {
                      g_balance.active = 0;
                      for (int i = 0; i < 2; i++) {
                          g_motor[i].speed_mode = 0;
                          Motor_SetIqRef(&g_motor[i], 0.0f);
                          Motor_Neutralize(&g_motor[i]);
                      }
                      printf("[PICKUP] Wheels %.0f RPM gyro %.0f °/s — balance off\r\n",
                             max_rpm, g_balance.gyro_filt);
                      Buzzer_Beep(4000, 200);
                  }
              } else {
                  pickup_tick = 0;
              }
          } else {
              pickup_tick = 0;
          }
      }

      // 5. 遥测（可选, 200Hz = 每5次发一帧）
      if (CLI_TelemetryEnabled() && (tick % 5 == 0)) {
          float frame[10];
          frame[0] = g_balance.tilt_angle;              // ch0: 倾角 (°)
          frame[1] = g_balance.gyro_rate;               // ch1: 角速度 (°/s)
          frame[2] = g_balance.balance_out;              // ch2: 平衡PID输出 (RPM)
          frame[3] = g_speed[MOTOR_RIGHT].speed_fb;       // ch3: 右轮速度 (RPM)
          frame[4] = g_speed[MOTOR_LEFT].speed_fb;        // ch4: 左轮速度 (RPM)
          frame[5] = g_motor[MOTOR_RIGHT].iq;             // ch5: 右轮电流 (A)
          frame[6] = g_motor[MOTOR_LEFT].iq;              // ch6: 左轮电流 (A)
          frame[7] = g_balance.target_angle;            // ch7: 目标倾角 (°)
          frame[8] = g_balance.yaw_angle;                   // ch8: 偏航角度 (°)
          frame[9] = g_balance.target_yaw_angle;          // ch9: 目标偏航角度 (°)
          COMM_SendFloatFrame(frame, 10);
      }

      // 6. 蓝牙遥测 (50Hz = 每 BT_TELEM_DIV tick推送, 手机控制帧 bit2 开关)
      if (g_bt_telem_enabled && (tick % BT_TELEM_DIV == 0)) {
          int16_t avg_speed = (int16_t)((g_balance.speed_ref_l + g_balance.speed_ref_r) / 2.0f);
          int16_t vbus_mv = (int16_t)(VBUS_Read() * 100.0f);
          int32_t uptime = (int32_t)(xTaskGetTickCount() / 1000);
          uint8_t bt_flags = 0;
          if (g_balance.active) bt_flags |= 0x01;
          BT_SendTelemetryFrame(g_balance.tilt_angle, avg_speed, vbus_mv, uptime, bt_flags);
      }

      // 7. 控制循环超时检测 (>1ms @170MHz → 丢帧)
      if ((DWT->CYCCNT - t_start) > CYCLE_OVERRUN_THRESH) {
          g_cycle_overrun_cnt++;
      }

      // 8. 蜂鸣器非阻塞到期检查
      Buzzer_Update();
  }
}

/** @brief FreeRTOS 栈溢出钩子 */
void vApplicationStackOverflowHook(TaskHandle_t xTask, char *pcTaskName)
{
    (void)xTask;
    printf("STACK OVERFLOW: %s\r\n", pcTaskName);
    Fault_DisableMotors();
    __disable_irq();
    while(1);
}

/** @brief FreeRTOS 内存分配失败钩子 */
void vApplicationMallocFailedHook(void)
{
    printf("MALLOC FAILED: heap exhausted\r\n");
    Fault_DisableMotors();
    __disable_irq();
    while(1);
}

/* USER CODE END Application */
